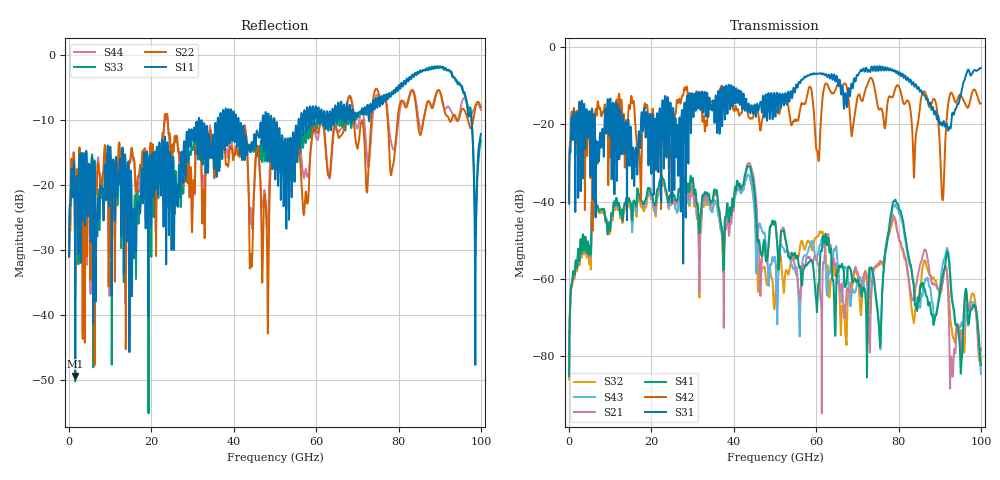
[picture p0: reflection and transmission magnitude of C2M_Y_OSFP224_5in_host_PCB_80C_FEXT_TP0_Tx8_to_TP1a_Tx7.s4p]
# GHz S RI R 45
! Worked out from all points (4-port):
!   4000 points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, 25 MHz to 100 GHz, reference 45 ohm
!   strongest paths, dB at 25 MHz, 25.02 GHz, 50.02 GHz, 75.03 GHz, 100 GHz:
!     S31: -40.6, -25.4, -16.1, -6.0, -5.4
!     S42: -39.6, -28.1, -16.1, -15.6, -14.6
!     S41: -85.1, -37.2, -45.1, -69.8, -82.3
!     S21: -85.3, -37.5, -45.6, -56.1, -78.0
!     S43: -85.0, -38.9, -54.3, -68.9, -84.6
!     S32: -86.0, -38.9, -65.9, -56.6, -80.5
!   lowest |S11| = -49.4 dB at 1.5 GHz (marker M1), VSWR 1.01, Z = 45.3 + j0.0987 ohm
!   |S11| at or under -10 dB: start of sweep to 31.47 GHz; 41.18 GHz to 47 GHz (5.825 GHz wide, 13.2 % of centre); 49.79 GHz to 55.72 GHz (5.935 GHz wide, 11.2 % of centre) (the widest 3 of 37)
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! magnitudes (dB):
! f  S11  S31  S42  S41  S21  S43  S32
! 25 MHz  -31.0  -40.6  -39.6  -85.1  -85.3  -85.0  -86.0
! 1.5 GHz  -49.4  -32.9  -26.6  -57.0  -57.2  -56.8  -58.0
! 43.7 GHz  -14.4  -14.7  -18.2  -30.9  -30.0  -33.2  -33.3
! 49.75 GHz  -9.8  -11.9  -15.3  -45.9  -45.9  -55.3  -67.3
! 75.35 GHz  -7.4  -5.1  -16.2  -73.9  -55.7  -72.5  -56.2
! 78.88 GHz  -5.4  -6.3  -12.1  -39.9  -43.7  -41.3  -44.7
! 100 GHz  -12.2  -5.4  -14.6  -82.3  -78.0  -84.6  -80.5
